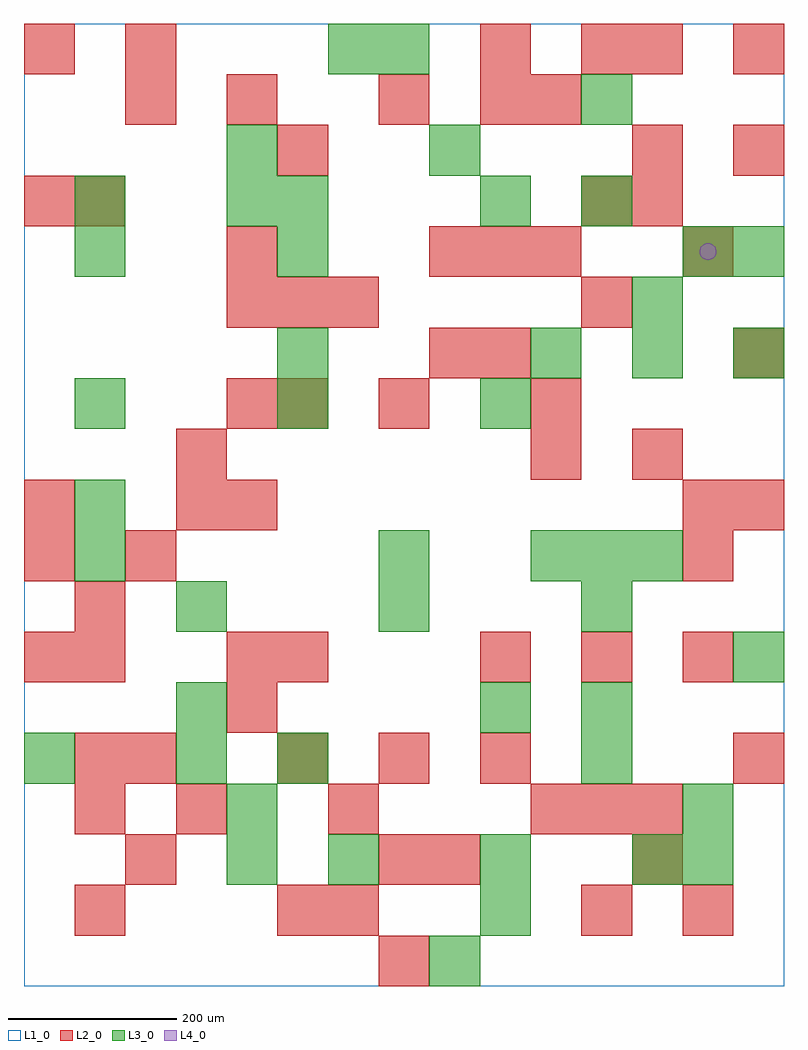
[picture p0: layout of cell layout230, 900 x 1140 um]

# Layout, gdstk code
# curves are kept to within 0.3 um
import gdstk
lib = gdstk.Library(unit=1e-6, precision=1e-09)
def R(c, l, rs):  # rectangles x0, y0, x1, y1
    for r in rs: c.add(gdstk.rectangle(r[:2], r[2:], *l))
def A(c, l, x, y, w, h, nx, ny, dx, dy):  # array of equal rectangles
    R(c, l, [(x+i*dx, y+j*dy, x+i*dx+w, y+j*dy+h) for i in range(nx) for j in range(ny)])
def P(c, l, *ps):  # polygons
    for p in ps: c.add(gdstk.Polygon(p, *l))
L1_0 = (1, 0)
L2_0 = (2, 0)
L3_0 = (3, 0)
L4_0 = (4, 0)

layout230 = lib.new_cell('layout230')
R(layout230, L1_0, [(0,0,900,1140)])
A(layout230, L2_0, 300, 60, 60, 60, 1, 4, 0, 300)
A(layout230, L2_0, 600, 180, 60, 60, 3, 1, 60, 0)
A(layout230, L2_0, 300, 240, 60, 60, 3, 1, 120, 0)
A(layout230, L2_0, 540, 360, 60, 60, 3, 1, 120, 0)
A(layout230, L2_0, 240, 660, 60, 60, 1, 3, 0, 180)
A(layout230, L2_0, 240, 780, 60, 60, 3, 1, 60, 0)
A(layout230, L2_0, 480, 840, 60, 60, 3, 1, 60, 0)
R(layout230, L2_0, [(420,0,480,60), (60,60,120,120), (360,60,420,120), (660,60,720,120), (780,60,840,120), (120,120,180,180), (420,120,480,180), (480,120,540,180), (720,120,780,180), (60,180,120,240), (180,180,240,240), (360,180,420,240), (60,240,120,300), (120,240,180,300), (840,240,900,300), (240,300,300,360), (0,360,60,420), (60,360,120,420), (240,360,300,420), (60,420,120,480), (0,480,60,540), (120,480,180,540), (780,480,840,540), (0,540,60,600), (180,540,240,600), (240,540,300,600), (780,540,840,600), (840,540,900,600), (180,600,240,660), (600,600,660,660), (720,600,780,660), (420,660,480,720), (600,660,660,720), (480,720,540,780), (540,720,600,780), (840,720,900,780), (660,780,720,840), (780,840,840,900), (0,900,60,960), (60,900,120,960), (660,900,720,960), (720,900,780,960), (720,960,780,1020), (840,960,900,1020), (120,1020,180,1080), (420,1020,480,1080), (540,1020,600,1080), (600,1020,660,1080), (0,1080,60,1140), (120,1080,180,1140), (540,1080,600,1140), (660,1080,720,1140), (720,1080,780,1140), (840,1080,900,1140)])
A(layout230, L3_0, 360, 120, 60, 60, 3, 1, 180, 0)
A(layout230, L3_0, 180, 420, 60, 60, 3, 1, 240, 0)
A(layout230, L3_0, 600, 480, 60, 60, 3, 1, 60, 0)
A(layout230, L3_0, 60, 660, 60, 60, 3, 1, 240, 0)
A(layout230, L3_0, 600, 720, 60, 60, 3, 1, 120, 0)
R(layout230, L3_0, [(480,0,540,60), (540,60,600,120), (240,120,300,180), (780,120,840,180), (240,180,300,240), (780,180,840,240), (0,240,60,300), (180,240,240,300), (300,240,360,300), (660,240,720,300), (180,300,240,360), (540,300,600,360), (660,300,720,360), (840,360,900,420), (60,480,120,540), (420,480,480,540), (60,540,120,600), (300,720,360,780), (720,780,780,840), (60,840,120,900), (300,840,360,900), (780,840,840,900), (840,840,900,900), (60,900,120,960), (240,900,300,960), (300,900,360,960), (540,900,600,960), (660,900,720,960), (240,960,300,1020), (480,960,540,1020), (660,1020,720,1080), (360,1080,420,1140), (420,1080,480,1140)])
P(layout230, L4_0, [(820,870),(819.239,873.827),(817.071,877.071),(813.827,879.239),(810,880),(806.173,879.239),(802.929,877.071),(800.761,873.827),(800,870),(800.761,866.173),(802.929,862.929),(806.173,860.761),(810,860),(813.827,860.761),(817.071,862.929),(819.239,866.173)])

lib.write_gds('layout230.gds')
